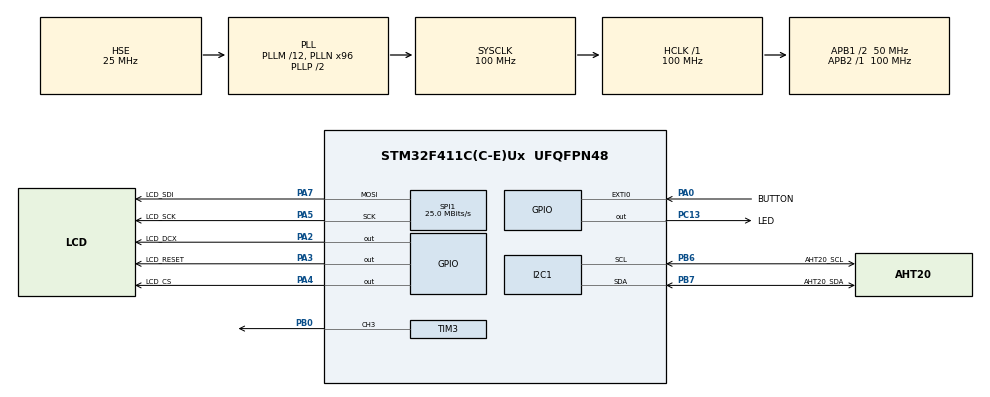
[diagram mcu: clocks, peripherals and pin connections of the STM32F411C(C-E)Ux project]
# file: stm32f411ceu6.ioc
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Dma.Request0=SPI1_TX
Dma.SPI1_TX.0.Direction=DMA_MEMORY_TO_PERIPH
Dma.SPI1_TX.0.FIFOMode=DMA_FIFOMODE_DISABLE
Dma.SPI1_TX.0.Instance=DMA2_Stream2
Dma.SPI1_TX.0.MemDataAlignment=DMA_MDATAALIGN_HALFWORD
Dma.SPI1_TX.0.MemInc=DMA_MINC_ENABLE
Dma.SPI1_TX.0.Mode=DMA_NORMAL
Dma.SPI1_TX.0.PeriphDataAlignment=DMA_PDATAALIGN_HALFWORD
Dma.SPI1_TX.0.PeriphInc=DMA_PINC_DISABLE
Dma.SPI1_TX.0.Priority=DMA_PRIORITY_MEDIUM
FREERTOS.Queues01=buttonQueue,16,uint16_t,0,Dynamic,NULL,NULL;aht20Queue,16,AHT20_Data_t,0,Dynamic,NULL,NULL
FREERTOS.Tasks01=defaultTask,0,128,StartDefaultTask,Default,NULL,Dynamic,NULL,NULL;ledTask,-3,128,StartLedTask,Default,NULL,Dynamic,NULL,NULL;displayTask,-3,1024,StartDisplayTask,As weak,aht20QueueHandle,Dynamic,NULL,NULL;aht20Task,-3,128,StartAht20Task,As weak,aht20QueueHandle,Dynamic,NULL,NULL
FREERTOS.configUSE_NEWLIB_REENTRANT=1
Mcu.Family=STM32F4
Mcu.Name=STM32F411C(C-E)Ux
Mcu.Package=UFQFPN48
NVIC.DMA2_Stream2_IRQn=true\:5\:0\:false\:false\:true\:true\:false\:true\:true
NVIC.EXTI0_IRQn=true\:5\:0\:false\:false\:true\:true\:true\:true\:true
NVIC.PriorityGroup=NVIC_PRIORITYGROUP_4
NVIC.SPI1_IRQn=true\:5\:0\:false\:false\:true\:true\:true\:true\:true
NVIC.TIM2_IRQn=true\:15\:0\:false\:false\:true\:false\:false\:true\:true
NVIC.TimeBase=TIM2_IRQn
NVIC.TimeBaseIP=TIM2
PA0-WKUP.GPIO_Label=BUTTON
PA0-WKUP.GPIO_ModeDefaultEXTI=GPIO_MODE_IT_FALLING
PA0-WKUP.GPIO_PuPd=GPIO_PULLUP
PA0-WKUP.Signal=GPXTI0
PA13.Mode=Serial_Wire
PA13.Signal=SYS_JTMS-SWDIO
PA14.Mode=Serial_Wire
PA14.Signal=SYS_JTCK-SWCLK
PA2.GPIO_Label=LCD_DCX
PA2.GPIO_Speed=GPIO_SPEED_FREQ_VERY_HIGH
PA2.PinState=GPIO_PIN_SET
PA2.Signal=GPIO_Output
PA3.GPIO_Label=LCD_RESET
PA3.GPIO_PuPd=GPIO_PULLUP
PA3.PinState=GPIO_PIN_SET
PA3.Signal=GPIO_Output
PA4.GPIO_Label=LCD_CS
PA4.GPIO_Speed=GPIO_SPEED_FREQ_VERY_HIGH
PA4.Signal=GPIO_Output
PA5.GPIO_Label=LCD_SCK
PA5.GPIO_PuPd=GPIO_PULLDOWN
PA5.Mode=TX_Only_Simplex_Unidirect_Master
PA5.Signal=SPI1_SCK
PA7.GPIO_Label=LCD_SDI
PA7.GPIO_PuPd=GPIO_PULLUP
PA7.Mode=TX_Only_Simplex_Unidirect_Master
PA7.Signal=SPI1_MOSI
PB0.Signal=S_TIM3_CH3
PB6.GPIO_Label=AHT20_SCL
PB6.Mode=I2C
PB6.Signal=I2C1_SCL
PB7.GPIO_Label=AHT20_SDA
PB7.Mode=I2C
PB7.Signal=I2C1_SDA
PC13-ANTI_TAMP.GPIO_Label=LED
PC13-ANTI_TAMP.Signal=GPIO_Output
PH0\ -\ OSC_IN.Mode=HSE-External-Oscillator
PH0\ -\ OSC_IN.Signal=RCC_OSC_IN
PH1\ -\ OSC_OUT.Mode=HSE-External-Oscillator
PH1\ -\ OSC_OUT.Signal=RCC_OSC_OUT
ProjectManager.HeapSize=0x200
ProjectManager.StackSize=0x400
ProjectManager.TargetToolchain=STM32CubeIDE
RCC.48MHZClocksFreq_Value=50000000
RCC.AHBFreq_Value=100000000
RCC.APB1CLKDivider=RCC_HCLK_DIV2
RCC.APB1Freq_Value=50000000
RCC.APB1TimFreq_Value=100000000
RCC.APB2Freq_Value=100000000
RCC.APB2TimFreq_Value=100000000
RCC.CortexFreq_Value=100000000
RCC.HCLKFreq_Value=100000000
RCC.HSE_VALUE=25000000
RCC.HSI_VALUE=16000000
RCC.LSE_VALUE=32768
RCC.PLLM=12
RCC.PLLN=96
RCC.PLLSourceVirtual=RCC_PLLSOURCE_HSE
RCC.SYSCLKFreq_VALUE=100000000
RCC.SYSCLKSource=RCC_SYSCLKSOURCE_PLLCLK
RCC.VCOOutputFreq_Value=200000000
SH.S_TIM3_CH3.0=TIM3_CH3,PWM Generation3 CH3
SPI1.BaudRatePrescaler=SPI_BAUDRATEPRESCALER_4
SPI1.CalculateBaudRate=25.0 MBits/s
SPI1.Direction=SPI_DIRECTION_2LINES
SPI1.Mode=SPI_MODE_MASTER
SPI1.VirtualType=VM_MASTER
TIM3.Channel-PWM\ Generation3\ CH3=TIM_CHANNEL_3
TIM3.Period=100
TIM3.Prescaler=10000
VP_FREERTOS_VS_CMSIS_V1.Mode=CMSIS_V1
VP_SYS_VS_tim2.Mode=TIM2
VP_TIM3_VS_ClockSourceINT.Mode=Internal
board=custom

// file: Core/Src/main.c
/* USER CODE BEGIN Header */
/**
  ******************************************************************************
  * @file           : main.c
  * @brief          : Main program body
  ******************************************************************************
  * @attention
  *
  * Copyright (c) 2025 STMicroelectronics.
  * All rights reserved.
  *
  * This software is licensed under terms that can be found in the LICENSE file
  * in the root directory of this software component.
  * If no LICENSE file comes with this software, it is provided AS-IS.
  *
  ******************************************************************************
  */
/* USER CODE END Header */
#include "main.h"
#include "cmsis_os.h"
#include "dma.h"
#include "i2c.h"
#include "spi.h"
#include "tim.h"
#include "gpio.h"

void SystemClock_Config(void);
void MX_FREERTOS_Init(void);

int main(void)
{

  /* MCU Configuration--------------------------------------------------------*/

  /* Reset of all peripherals, Initializes the Flash interface and the Systick. */
  HAL_Init();

  /* Configure the system clock */
  SystemClock_Config();

  /* Initialize all configured peripherals */
  MX_GPIO_Init();
  MX_DMA_Init();
  MX_I2C1_Init();
  MX_SPI1_Init();
  MX_TIM3_Init();
  /* USER CODE BEGIN 2 */
//  HAL_TIM_PWM_Start(&htim3, TIM_CHANNEL_3);
//int32_t CH3_DC = 0;
//  while (1) {
//	  while(CH3_DC < 100)
//	  {
//		  TIM3->CCR3 = CH3_DC;
//		  CH3_DC += 1;
//		  HAL_Delay(1);
//	  }
//	  while(CH3_DC > 0)
//	  {
//		  TIM3->CCR3 = CH3_DC;
//		  CH3_DC -= 1;
//		  HAL_Delay(1);
//	  }
//  }

  /* USER CODE END 2 */

  /* Call init function for freertos objects (in cmsis_os2.c) */
  MX_FREERTOS_Init();

  /* Start scheduler */
  osKernelStart();

  /* We should never get here as control is now taken by the scheduler */

  /* Infinite loop */
  while (1)
  {

  }
}

void SystemClock_Config(void)
{
  RCC_OscInitTypeDef RCC_OscInitStruct = {0};
  RCC_ClkInitTypeDef RCC_ClkInitStruct = {0};

  /** Configure the main internal regulator output voltage
  */
  __HAL_RCC_PWR_CLK_ENABLE();
  __HAL_PWR_VOLTAGESCALING_CONFIG(PWR_REGULATOR_VOLTAGE_SCALE1);

  /** Initializes the RCC Oscillators according to the specified parameters
  * in the RCC_OscInitTypeDef structure.
  */
  RCC_OscInitStruct.OscillatorType = RCC_OSCILLATORTYPE_HSE;
  RCC_OscInitStruct.HSEState = RCC_HSE_ON;
  RCC_OscInitStruct.PLL.PLLState = RCC_PLL_ON;
  RCC_OscInitStruct.PLL.PLLSource = RCC_PLLSOURCE_HSE;
  RCC_OscInitStruct.PLL.PLLM = 12;
  RCC_OscInitStruct.PLL.PLLN = 96;
  RCC_OscInitStruct.PLL.PLLP = RCC_PLLP_DIV2;
  RCC_OscInitStruct.PLL.PLLQ = 4;
  if (HAL_RCC_OscConfig(&RCC_OscInitStruct) != HAL_OK)
  {
    Error_Handler();
  }

  /** Initializes the CPU, AHB and APB buses clocks
  */
  RCC_ClkInitStruct.ClockType = RCC_CLOCKTYPE_HCLK|RCC_CLOCKTYPE_SYSCLK
                              |RCC_CLOCKTYPE_PCLK1|RCC_CLOCKTYPE_PCLK2;
  RCC_ClkInitStruct.SYSCLKSource = RCC_SYSCLKSOURCE_PLLCLK;
  RCC_ClkInitStruct.AHBCLKDivider = RCC_SYSCLK_DIV1;
  RCC_ClkInitStruct.APB1CLKDivider = RCC_HCLK_DIV2;
  RCC_ClkInitStruct.APB2CLKDivider = RCC_HCLK_DIV1;

  if (HAL_RCC_ClockConfig(&RCC_ClkInitStruct, FLASH_LATENCY_3) != HAL_OK)
  {
    Error_Handler();
  }
}

void HAL_TIM_PeriodElapsedCallback(TIM_HandleTypeDef *htim)
{
  if (htim->Instance == TIM2)
  {
    HAL_IncTick();
  }
}

void Error_Handler(void)
{
  __disable_irq();
  while (1)
  {
  }
}

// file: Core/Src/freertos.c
/* USER CODE BEGIN Header */
/**
  ******************************************************************************
  * File Name          : freertos.c
  * Description        : Code for freertos applications
  ******************************************************************************
  * @attention
  *
  * Copyright (c) 2025 STMicroelectronics.
  * All rights reserved.
  *
  * This software is licensed under terms that can be found in the LICENSE file
  * in the root directory of this software component.
  * If no LICENSE file comes with this software, it is provided AS-IS.
  *
  ******************************************************************************
  */
/* USER CODE END Header */

#include "FreeRTOS.h"
#include "task.h"
#include "main.h"
#include "cmsis_os.h"

/* USER CODE BEGIN Includes */
#include "common.h"
/* USER CODE END Includes */

/* USER CODE BEGIN Variables */
uint32_t currentTime;
uint32_t previousTime;
uint16_t value = 1000;
/* USER CODE END Variables */
osThreadId defaultTaskHandle;
osThreadId ledTaskHandle;
osThreadId displayTaskHandle;
osThreadId aht20TaskHandle;
osMessageQId buttonQueueHandle;
osMessageQId aht20QueueHandle;

void StartDefaultTask(void const * argument);
void StartLedTask(void const * argument);
void StartDisplayTask(void const * argument);
void StartAht20Task(void const * argument);

void MX_FREERTOS_Init(void); /* (MISRA C 2004 rule 8.1) */

/* GetIdleTaskMemory prototype (linked to static allocation support) */
void vApplicationGetIdleTaskMemory( StaticTask_t **ppxIdleTaskTCBBuffer, StackType_t **ppxIdleTaskStackBuffer, uint32_t *pulIdleTaskStackSize );

/* USER CODE BEGIN GET_IDLE_TASK_MEMORY */
static StaticTask_t xIdleTaskTCBBuffer;
static StackType_t xIdleStack[configMINIMAL_STACK_SIZE];

void vApplicationGetIdleTaskMemory( StaticTask_t **ppxIdleTaskTCBBuffer, StackType_t **ppxIdleTaskStackBuffer, uint32_t *pulIdleTaskStackSize )
{
  *ppxIdleTaskTCBBuffer = &xIdleTaskTCBBuffer;
  *ppxIdleTaskStackBuffer = &xIdleStack[0];
  *pulIdleTaskStackSize = configMINIMAL_STACK_SIZE;
  /* place for user code */
}
/* USER CODE END GET_IDLE_TASK_MEMORY */

void MX_FREERTOS_Init(void) {

  /* Create the queue(s) */
  /* definition and creation of buttonQueue */
  osMessageQDef(buttonQueue, 16, uint16_t);
  buttonQueueHandle = osMessageCreate(osMessageQ(buttonQueue), NULL);

  /* definition and creation of aht20Queue */
  osMessageQDef(aht20Queue, 16, AHT20_Data_t);
  aht20QueueHandle = osMessageCreate(osMessageQ(aht20Queue), NULL);

  /* Create the thread(s) */
  /* definition and creation of defaultTask */
  osThreadDef(defaultTask, StartDefaultTask, osPriorityNormal, 0, 128);
  defaultTaskHandle = osThreadCreate(osThread(defaultTask), NULL);

  /* definition and creation of ledTask */
  osThreadDef(ledTask, StartLedTask, osPriorityIdle, 0, 128);
  ledTaskHandle = osThreadCreate(osThread(ledTask), NULL);

  /* definition and creation of displayTask */
  osThreadDef(displayTask, StartDisplayTask, osPriorityIdle, 0, 1024);
  displayTaskHandle = osThreadCreate(osThread(displayTask), (void*) aht20QueueHandle);

  /* definition and creation of aht20Task */
  osThreadDef(aht20Task, StartAht20Task, osPriorityIdle, 0, 128);
  aht20TaskHandle = osThreadCreate(osThread(aht20Task), (void*) aht20QueueHandle);

}

void StartDefaultTask(void const * argument)
{
  for(;;)
  {
    osDelay(1);
  }
}

void StartLedTask(void const * argument)
{
  /* USER CODE BEGIN StartLedTask */
  /* Infinite loop */
  for(;;)
  {
	  xQueueReceive(buttonQueueHandle, &value, 0);
	  HAL_GPIO_TogglePin(LED_GPIO_Port, LED_Pin);
	  osDelay(value);
  }
  /* USER CODE END StartLedTask */
}

__weak void StartDisplayTask(void const * argument)
{
  for(;;)
  {
    osDelay(1);
  }
}

__weak void StartAht20Task(void const * argument)
{
  for(;;)
  {
    osDelay(1);
  }
}

/* USER CODE BEGIN Application */
void HAL_GPIO_EXTI_Callback(uint16_t GPIO_Pin)
{
	currentTime = HAL_GetTick();
	if (GPIO_Pin == BUTTON_Pin && (currentTime - previousTime > 5)) {
		if (value < 500) {
			value = 1000;
		} else {
			value = 100;
		}
		xQueueSendToBackFromISR(buttonQueueHandle, &value, 0);
		previousTime = currentTime;
	} else {
		__NOP();
	}
}
/* USER CODE END Application */
